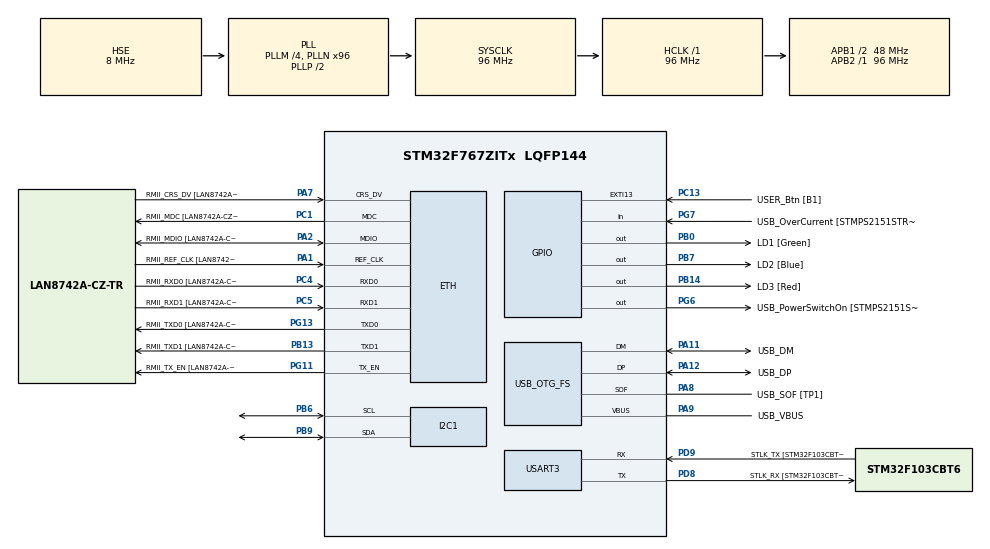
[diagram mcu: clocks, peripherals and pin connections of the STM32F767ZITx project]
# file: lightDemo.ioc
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ETH.MediaInterface=HAL_ETH_RMII_MODE
ETH.PHY_Name=LAN8742A_PHY_ADDRESS
ETH.PHY_Value=0
ETH.PhyAddress=0
FREERTOS.Queues01=sensorReadingQ,16,uint16_t,0,Dynamic,NULL,NULL
FREERTOS.Tasks01=defaultTask,24,256,StartDefaultTask,Default,NULL,Dynamic,NULL,NULL;readLightSensor,9,256,StartTask02,Default,NULL,Dynamic,NULL,NULL;updateOLED,8,256,StartTask03,Default,NULL,Dynamic,NULL,NULL
FREERTOS.configUSE_NEWLIB_REENTRANT=1
I2C1.Timing=0x20303E5D
Mcu.Family=STM32F7
Mcu.Name=STM32F767ZITx
Mcu.Package=LQFP144
NVIC.I2C1_ER_IRQn=true\:5\:0\:false\:false\:true\:true\:true\:true\:true
NVIC.I2C1_EV_IRQn=true\:5\:0\:false\:false\:true\:true\:true\:true\:true
NVIC.PriorityGroup=NVIC_PRIORITYGROUP_4
PA1.GPIO_Label=RMII_REF_CLK [LAN8742A-CZ-TR_REFCLK0]
PA1.Mode=RMII
PA1.Signal=ETH_REF_CLK
PA10.GPIO_Label=USB_ID
PA10.Signal=USB_OTG_FS_ID
PA11.GPIO_Label=USB_DM
PA11.Mode=Device_Only
PA11.Signal=USB_OTG_FS_DM
PA12.GPIO_Label=USB_DP
PA12.Mode=Device_Only
PA12.Signal=USB_OTG_FS_DP
PA13.GPIO_Label=TMS
PA13.Mode=Serial_Wire
PA13.Signal=SYS_JTMS-SWDIO
PA14.GPIO_Label=TCK
PA14.Mode=Serial_Wire
PA14.Signal=SYS_JTCK-SWCLK
PA2.GPIO_Label=RMII_MDIO [LAN8742A-CZ-TR_MDIO]
PA2.Mode=RMII
PA2.Signal=ETH_MDIO
PA7.GPIO_Label=RMII_CRS_DV [LAN8742A-CZ-TR_CRS_DV]
PA7.Mode=RMII
PA7.Signal=ETH_CRS_DV
PA8.GPIO_Label=USB_SOF [TP1]
PA8.Mode=Activate_SOF_FS
PA8.Signal=USB_OTG_FS_SOF
PA9.GPIO_Label=USB_VBUS
PA9.Mode=Activate_VBUS
PA9.Signal=USB_OTG_FS_VBUS
PB0.GPIO_Label=LD1 [Green]
PB0.Signal=GPIO_Output
PB13.GPIO_Label=RMII_TXD1 [LAN8742A-CZ-TR_TXD1]
PB13.Mode=RMII
PB13.Signal=ETH_TXD1
PB14.GPIO_Label=LD3 [Red]
PB14.Signal=GPIO_Output
PB3.GPIO_Label=SWO
PB3.Signal=SYS_JTDO-SWO
PB6.Mode=I2C
PB6.Signal=I2C1_SCL
PB7.GPIO_Label=LD2 [Blue]
PB7.Signal=GPIO_Output
PB9.Mode=I2C
PB9.Signal=I2C1_SDA
PC1.GPIO_Label=RMII_MDC [LAN8742A-CZ-TR_MDC]
PC1.Mode=RMII
PC1.Signal=ETH_MDC
PC13.GPIO_Label=USER_Btn [B1]
PC13.Signal=GPXTI13
PC14/OSC32_IN.Mode=LSE-External-Oscillator
PC14/OSC32_IN.Signal=RCC_OSC32_IN
PC15/OSC32_OUT.Mode=LSE-External-Oscillator
PC15/OSC32_OUT.Signal=RCC_OSC32_OUT
PC4.GPIO_Label=RMII_RXD0 [LAN8742A-CZ-TR_RXD0]
PC4.Mode=RMII
PC4.Signal=ETH_RXD0
PC5.GPIO_Label=RMII_RXD1 [LAN8742A-CZ-TR_RXD1]
PC5.Mode=RMII
PC5.Signal=ETH_RXD1
PD8.GPIO_Label=STLK_RX [STM32F103CBT6_PA3]
PD8.Mode=Asynchronous
PD8.Signal=USART3_TX
PD9.GPIO_Label=STLK_TX [STM32F103CBT6_PA2]
PD9.Mode=Asynchronous
PD9.Signal=USART3_RX
PG11.GPIO_Label=RMII_TX_EN [LAN8742A-CZ-TR_TXEN]
PG11.Mode=RMII
PG11.Signal=ETH_TX_EN
PG13.GPIO_Label=RMII_TXD0 [LAN8742A-CZ-TR_TXD0]
PG13.Mode=RMII
PG13.Signal=ETH_TXD0
PG6.GPIO_Label=USB_PowerSwitchOn [STMPS2151STR_EN]
PG6.Signal=GPIO_Output
PG7.GPIO_Label=USB_OverCurrent [STMPS2151STR_FAULT]
PG7.Signal=GPIO_Input
PH0/OSC_IN.GPIO_Label=MCO [STM32F103CBT6_PA8]
PH0/OSC_IN.Mode=HSE-External-Clock-Source
PH0/OSC_IN.Signal=RCC_OSC_IN
PH1/OSC_OUT.Mode=HSE-External-Clock-Source
PH1/OSC_OUT.Signal=RCC_OSC_OUT
ProjectManager.HeapSize=0x200
ProjectManager.StackSize=0x400
ProjectManager.TargetToolchain=STM32CubeIDE
RCC.48MHZClocksFreq_Value=24000000
RCC.AHBFreq_Value=96000000
RCC.APB1CLKDivider=RCC_HCLK_DIV2
RCC.APB1Freq_Value=48000000
RCC.APB1TimFreq_Value=96000000
RCC.APB2Freq_Value=96000000
RCC.APB2TimFreq_Value=96000000
RCC.CortexFreq_Value=96000000
RCC.HCLKFreq_Value=96000000
RCC.HSE_VALUE=8000000
RCC.HSI_VALUE=16000000
RCC.PLLM=4
RCC.PLLMUL=RCC_PLL_MUL9
RCC.PLLN=96
RCC.PLLQ=4
RCC.PRESCALERUSB=RCC_USBCLKSOURCE_PLL_DIV1_5
RCC.SYSCLKFreq_VALUE=96000000
RCC.SYSCLKSource=RCC_SYSCLKSOURCE_PLLCLK
RCC.SYSCLKSourceVirtual=RCC_SYSCLKSOURCE_PLLCLK
RCC.USBFreq_Value=48000000
RCC.VCOOutputFreq_Value=192000000
USART3.VirtualMode-Asynchronous=VM_ASYNC
USB_OTG_FS.VirtualMode=Device_Only
VP_FREERTOS_VS_CMSIS_V2.Mode=CMSIS_V2
board=NUCLEO-F767ZI

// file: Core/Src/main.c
/* USER CODE BEGIN Header */
/**
  ******************************************************************************
  * @file           : main.c
  * @brief          : Main program body
  ******************************************************************************
  * @attention
  *
  * Copyright (c) 2026 STMicroelectronics.
  * All rights reserved.
  *
  * This software is licensed under terms that can be found in the LICENSE file
  * in the root directory of this software component.
  * If no LICENSE file comes with this software, it is provided AS-IS.
  *
  ******************************************************************************
  */
/* USER CODE END Header */

#include <ETH_Init.h>
#include <I2C_Init.h>
#include <UART_Init.h>
#include <USB_Init.h>
#include "main.h"
#include "cmsis_os.h"
#include "tsl2561.h"
#include<FreeRTOS.h>
#include "queue.h"      /* QueueHandle_t, xQueueCreate, xQueueSend, xQueueReceive */
#include "task.h"       /* portMAX_DELAY, pdPASS */
#include<SEGGER_SYSVIEW.h>
#include<stdio.h>

/* USER CODE BEGIN PD */
#define SENSOR_QUEUE_LENGTH     16
#define SENSOR_QUEUE_ITEM_SIZE  sizeof(uint16_t)
#define STACK_SIZE              256
/* USER CODE END PD */

/* Task handles */
TaskHandle_t defaultTaskHandle;
TaskHandle_t readLightSensorHandle;
TaskHandle_t updateOLEDHandle;

/* USER CODE BEGIN PV */
/* Native FreeRTOS queue - replaces osMessageQueue */
static QueueHandle_t sensorReadingQHandle;

static TSL2561_Handle g_light_sensor;
/* USER CODE END PV */

void SystemClock_Config(void);
static void MX_GPIO_Init(void);
void StartDefaultTask(void *argument);
void StartReadLightSensor(void *argument);
void StartUpdateOLED(void *argument);

int main(void)
{
  /* MCU Configuration -------------------------------------------------------*/
  HAL_Init();

  /* Configure the system clock */
  SystemClock_Config();

  /* Initialize all configured peripherals */
  MX_GPIO_Init();
  MX_ETH_Init();
  NVIC_SetPriorityGrouping(0);
  MX_USART3_UART_Init();
  MX_USB_OTG_FS_PCD_Init();
  MX_I2C1_Init();

  /* USER CODE BEGIN 2 */

  /* Configure TSL2561 light sensor over I2C */
  g_light_sensor.hi2c     = &hi2c1;
  g_light_sensor.addr     = TSL2561_ADDR_FLOAT;   /* ADDR SEL pin floating  */
  g_light_sensor.gain     = TSL2561_GAIN_1X;      /* 1x for bright rooms    */
  g_light_sensor.integ    = TSL2561_INTEG_101MS;  /* 101 ms, good balance   */
  g_light_sensor.pkg_type = TSL2561_PKG_T;        /* T/FN/CL package        */

  /* Sanity check before RTOS starts — HAL_Delay is safe here (no scheduler) */
  uint8_t sensor_id = 0;

  if (TSL2561_Init(&g_light_sensor) != TSL2561_OK)
  {
      /* If this fires: check wiring, pull-ups, and ADDR SEL pin voltage */
      Error_Handler();
  }
  TSL2561_ReadID(&g_light_sensor, &sensor_id);
  /* sensor_id upper nibble: 0x0 = TSL2560, 0x1 = TSL2561 */

  /* Enable DWT cycle counter — required for SystemView timestamps */
  CoreDebug->DEMCR |= CoreDebug_DEMCR_TRCENA_Msk;
  DWT->CYCCNT = 0;
  DWT->CTRL  |= DWT_CTRL_CYCCNTENA_Msk;

  /* Start SystemView */
  SEGGER_SYSVIEW_Conf();
  SEGGER_SYSVIEW_Start();

  /* USER CODE END 2 */

  /* Init scheduler */
  //osKernelInitialize();

  /* USER CODE BEGIN RTOS_QUEUES */
  /* Native FreeRTOS queue — holds up to 16 uint16_t lux readings */
  sensorReadingQHandle = xQueueCreate(SENSOR_QUEUE_LENGTH, SENSOR_QUEUE_ITEM_SIZE);
  configASSERT(sensorReadingQHandle != NULL);
  /* USER CODE END RTOS_QUEUES */

  /* Create the threads */
  /* USER CODE BEGIN RTOS_THREADS */
  xTaskCreate(StartDefaultTask,      "defaultTask",      STACK_SIZE, NULL, tskIDLE_PRIORITY + 1, &defaultTaskHandle);
  xTaskCreate(StartReadLightSensor,  "readLightSensor",  STACK_SIZE, NULL, tskIDLE_PRIORITY + 2, &readLightSensorHandle);
  xTaskCreate(StartUpdateOLED,       "updateOLED",       STACK_SIZE, NULL, tskIDLE_PRIORITY + 1, &updateOLEDHandle);
  /* USER CODE END RTOS_THREADS */

  /* Start scheduler — should never return */
  vTaskStartScheduler();

  /* If we reach here, something went wrong with the scheduler */
  while (1) {}
}

/**
  * @brief Default idle task — reserved for future use
  */
void StartDefaultTask(void *argument)
{
  for (;;)
  {
  }
}

/**
  * @brief Reads lux value from TSL2561 and posts to sensor queue
  */
void StartReadLightSensor(void *argument)
{
  /* USER CODE BEGIN StartReadLightSensor */
  uint32_t lux = 0;
  char buf[32];

  for (;;)
  {
      /* TSL2561_ReadLux internally delays one integration period (~101 ms) */
      if (TSL2561_ReadLux(&g_light_sensor, &lux) == TSL2561_OK)
      {
          /* Queue holds uint16_t — cap lux at 65535 for safety */
          uint16_t lux16 = (lux > 65535u) ? 65535u : (uint16_t)lux;

          snprintf(buf, sizeof(buf), "Lux: %u\n", (unsigned int)lux16);
          SEGGER_RTT_WriteString(0, buf);

          /* Post to queue, don't block if full (timeout = 0) */
          xQueueSend(sensorReadingQHandle, &lux16, 0);
      }

      vTaskDelay(pdMS_TO_TICKS(200));
  }
  /* USER CODE END StartReadLightSensor */
}

/**
  * @brief Receives lux readings from queue and updates OLED display
  */
void StartUpdateOLED(void *argument)
{
  /* USER CODE BEGIN StartUpdateOLED */
  uint16_t lux = 0;
  char buf[32];

  for (;;)
  {
      /* Block until a lux reading is available (portMAX_DELAY = wait forever) */
      if (xQueueReceive(sensorReadingQHandle, &lux, portMAX_DELAY) == pdPASS) // read Queue and enter if a read is successful
      {

          HAL_GPIO_WritePin(GPIOB, LD1_Pin, GPIO_PIN_SET); // set green LED
          vTaskDelay(25/portTICK_PERIOD_MS);
          HAL_GPIO_WritePin(GPIOB, LD1_Pin, GPIO_PIN_RESET); // reset green LED
          vTaskDelay(25/portTICK_PERIOD_MS);
      }
  }
  /* USER CODE END StartUpdateOLED */
}

void SystemClock_Config(void)
{
  RCC_OscInitTypeDef RCC_OscInitStruct = {0};
  RCC_ClkInitTypeDef RCC_ClkInitStruct = {0};

  HAL_PWR_EnableBkUpAccess();
  __HAL_RCC_PWR_CLK_ENABLE();
  __HAL_PWR_VOLTAGESCALING_CONFIG(PWR_REGULATOR_VOLTAGE_SCALE3);

  RCC_OscInitStruct.OscillatorType = RCC_OSCILLATORTYPE_HSE;
  RCC_OscInitStruct.HSEState       = RCC_HSE_BYPASS;
  RCC_OscInitStruct.PLL.PLLState   = RCC_PLL_ON;
  RCC_OscInitStruct.PLL.PLLSource  = RCC_PLLSOURCE_HSE;
  RCC_OscInitStruct.PLL.PLLM       = 4;
  RCC_OscInitStruct.PLL.PLLN       = 96;
  RCC_OscInitStruct.PLL.PLLP       = RCC_PLLP_DIV2;
  RCC_OscInitStruct.PLL.PLLQ       = 4;
  RCC_OscInitStruct.PLL.PLLR       = 2;
  if (HAL_RCC_OscConfig(&RCC_OscInitStruct) != HAL_OK) { Error_Handler(); }

  if (HAL_PWREx_EnableOverDrive() != HAL_OK) { Error_Handler(); }

  RCC_ClkInitStruct.ClockType      = RCC_CLOCKTYPE_HCLK | RCC_CLOCKTYPE_SYSCLK
                                   | RCC_CLOCKTYPE_PCLK1 | RCC_CLOCKTYPE_PCLK2;
  RCC_ClkInitStruct.SYSCLKSource   = RCC_SYSCLKSOURCE_PLLCLK;
  RCC_ClkInitStruct.AHBCLKDivider  = RCC_SYSCLK_DIV1;
  RCC_ClkInitStruct.APB1CLKDivider = RCC_HCLK_DIV2;
  RCC_ClkInitStruct.APB2CLKDivider = RCC_HCLK_DIV1;
  if (HAL_RCC_ClockConfig(&RCC_ClkInitStruct, FLASH_LATENCY_3) != HAL_OK) { Error_Handler(); }
}

/**
  * @brief GPIO Initialization — LEDs and USB power pins
  */
static void MX_GPIO_Init(void)
{
  GPIO_InitTypeDef GPIO_InitStruct = {0};

  __HAL_RCC_GPIOC_CLK_ENABLE();
  __HAL_RCC_GPIOH_CLK_ENABLE();
  __HAL_RCC_GPIOA_CLK_ENABLE();
  __HAL_RCC_GPIOB_CLK_ENABLE();
  __HAL_RCC_GPIOD_CLK_ENABLE();
  __HAL_RCC_GPIOG_CLK_ENABLE();

  HAL_GPIO_WritePin(GPIOB, LD1_Pin | LD3_Pin | LD2_Pin, GPIO_PIN_RESET);
  HAL_GPIO_WritePin(USB_PowerSwitchOn_GPIO_Port, USB_PowerSwitchOn_Pin, GPIO_PIN_RESET);

  /* User button — rising edge interrupt */
  GPIO_InitStruct.Pin  = USER_Btn_Pin;
  GPIO_InitStruct.Mode = GPIO_MODE_IT_RISING;
  GPIO_InitStruct.Pull = GPIO_NOPULL;
  HAL_GPIO_Init(USER_Btn_GPIO_Port, &GPIO_InitStruct);

  /* LED pins — push-pull output */
  GPIO_InitStruct.Pin   = LD1_Pin | LD3_Pin | LD2_Pin;
  GPIO_InitStruct.Mode  = GPIO_MODE_OUTPUT_PP;
  GPIO_InitStruct.Pull  = GPIO_NOPULL;
  GPIO_InitStruct.Speed = GPIO_SPEED_FREQ_LOW;
  HAL_GPIO_Init(GPIOB, &GPIO_InitStruct);

  /* USB power switch */
  GPIO_InitStruct.Pin   = USB_PowerSwitchOn_Pin;
  GPIO_InitStruct.Mode  = GPIO_MODE_OUTPUT_PP;
  GPIO_InitStruct.Pull  = GPIO_NOPULL;
  GPIO_InitStruct.Speed = GPIO_SPEED_FREQ_LOW;
  HAL_GPIO_Init(USB_PowerSwitchOn_GPIO_Port, &GPIO_InitStruct);

  /* USB overcurrent sense — input only */
  GPIO_InitStruct.Pin  = USB_OverCurrent_Pin;
  GPIO_InitStruct.Mode = GPIO_MODE_INPUT;
  GPIO_InitStruct.Pull = GPIO_NOPULL;
  HAL_GPIO_Init(USB_OverCurrent_GPIO_Port, &GPIO_InitStruct);
}

/**
  * @brief Error handler — disables interrupts and halts
  */
void Error_Handler(void)
{
  __disable_irq();
  while (1) {}
}
